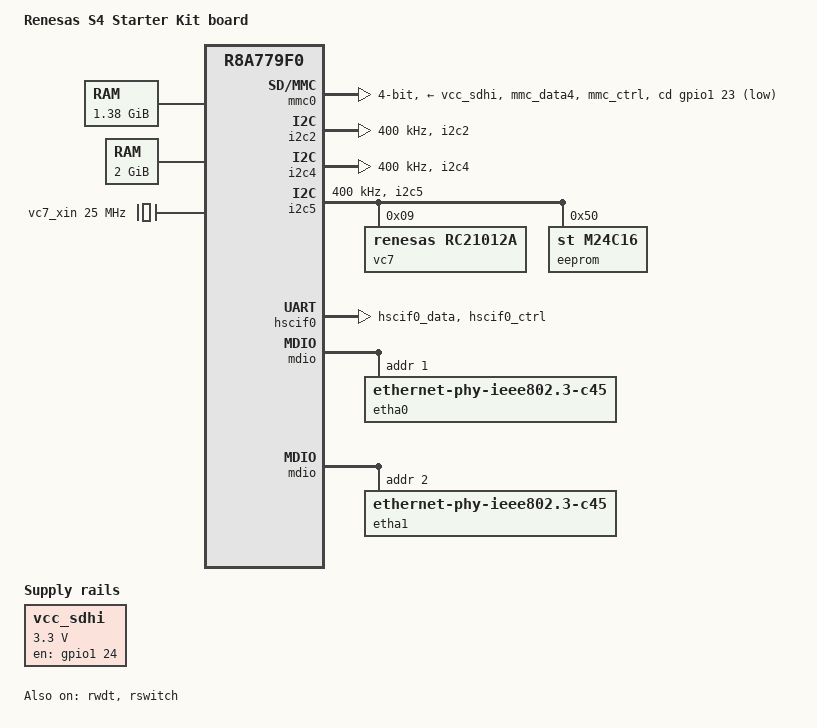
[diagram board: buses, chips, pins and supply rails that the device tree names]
// SPDX-License-Identifier: (GPL-2.0 or MIT)
/*
 * Device Tree Source for the S4 Starter Kit board
 *
 * Copyright (C) 2023 Renesas Electronics Corp.
 */

/dts-v1/;
#include <dt-bindings/gpio/gpio.h>
#include "r8a779f0.dtsi"

/ {
	model = "Renesas S4 Starter Kit board";
	compatible = "renesas,s4sk", "renesas,r8a779f0";

	aliases {
		serial0 = &hscif0;
	};

	chosen {
		stdout-path = "serial0:921600n8";
	};

	memory@48000000 {
		device_type = "memory";
		/* first 128MB is reserved for secure area. */
		/* The last 512MB is reserved for CR. */
		reg = <0x0 0x48000000 0x0 0x58000000>;
	};

	memory@480000000 {
		device_type = "memory";
		reg = <0x4 0x80000000 0x0 0x80000000>;
	};

	vc7_xin: vc7_xin {
		compatible = "fixed-clock";
		clock-frequency = <25000000>;
		#clock-cells = <0>;
	};

	vcc_sdhi: regulator-vcc-sdhi {
		compatible = "regulator-fixed";
		regulator-name = "SDHI Vcc";
		regulator-min-microvolt = <3300000>;
		regulator-max-microvolt = <3300000>;
		gpio = <&gpio1 24 GPIO_ACTIVE_HIGH>;
		enable-active-high;
	};
};

&extal_clk {
	clock-frequency = <20000000>;
};

&extalr_clk {
	clock-frequency = <32768>;
};

&mmc0 {
	pinctrl-0 = <&sd_pins>;
	pinctrl-1 = <&sd_pins>;
	pinctrl-names = "default", "state_uhs";

	vmmc-supply = <&vcc_sdhi>;
	vqmmc-supply = <&vcc_sdhi>;
	cd-gpios = <&gpio1 23 GPIO_ACTIVE_LOW>;
	bus-width = <4>;
	status = "okay";
};

&i2c2 {
	pinctrl-0 = <&i2c2_pins>;
	pinctrl-names = "default";

	status = "okay";
	clock-frequency = <400000>;
};

&i2c4 {
	pinctrl-0 = <&i2c4_pins>;
	pinctrl-names = "default";

	status = "okay";
	clock-frequency = <400000>;
};

&i2c5 {
	pinctrl-0 = <&i2c5_pins>;
	pinctrl-names = "default";

	status = "okay";
	clock-frequency = <400000>;

	vc7@9 {
		compatible = "renesas,rc21012a";
		reg = <0x9>;
		#clock-cells = <1>;
		clocks = <&vc7_xin>;
		clock-names = "xin";
	};

	eeprom@50 {
		compatible = "st,m24c16", "atmel,24c16";
		reg = <0x50>;
		pagesize = <16>;
	};
};

&pfc {
	pinctrl-0 = <&scif_clk_pins>;
	pinctrl-names = "default";

	i2c2_pins: i2c2 {
		groups = "i2c2";
		function = "i2c2";
	};

	i2c4_pins: i2c4 {
		groups = "i2c4";
		function = "i2c4";
	};

	i2c5_pins: i2c5 {
		groups = "i2c5";
		function = "i2c5";
	};

	sd_pins: sd {
		groups = "mmc_data4", "mmc_ctrl";
		function = "mmc";
		power-source = <3300>;
	};

	scif3_pins: scif3 {
		groups = "scif3_data", "scif3_ctrl";
		function = "scif3";
	};

	hscif0_pins: hscif0 {
		groups = "hscif0_data", "hscif0_ctrl";
		function = "hscif0";
	};

	scif_clk_pins: scif_clk {
		groups = "scif_clk";
		function = "scif_clk";
	};

	tsn0_pins: tsn0 {
		mux {
			groups = "tsn0_link", "tsn0_mdio";
			function = "tsn0";
			drive-strength = <18>;
			power-source = <3300>;
		};

		pins_mdio {
			groups = "tsn0_mdio";
			drive-strength = <18>;
			power-source = <3300>;
		};
	};

	tsn1_pins: tsn1 {
		mux {
			groups = "tsn1_link", "tsn1_mdio";
			function = "tsn1";
			drive-strength = <18>;
			power-source = <3300>;
		};

		pins_mdio {
			groups = "tsn1_mdio";
			drive-strength = <18>;
			power-source = <3300>;
		};
	};
};

&rwdt {
	timeout-sec = <60>;
	status = "okay";
};

&scif3 {
	pinctrl-0 = <&scif3_pins>;
	pinctrl-names = "default";

	uart-has-rtscts;
	/* Please use exclusively to the hscif0 node */
	status = "disabed";
};

&hscif0 {
	pinctrl-0 = <&hscif0_pins>;
	pinctrl-names = "default";

	uart-has-rtscts;
	/* Please use exclusively to the scif3 node */
	status = "okay";
};

&scif_clk {
	clock-frequency = <24000000>;
};

&rswitch {
	pinctrl-0 = <&tsn0_pins>, <&tsn1_pins>;
	pinctrl-names = "default";
	phy-mode = "sgmii";
	status = "okay";

	ethernet-ports {
		#address-cells = <1>;
		#size-cells = <0>;

		port@0 {
			reg = <0>;
			phy-handle = <&etha0>;

			mdio {
				#address-cells = <1>;
				#size-cells = <0>;

				etha0: ethernet-phy@1 {
					reg = <1>;
					compatible = "ethernet-phy-ieee802.3-c45";
				};
			};
		};
		port@1 {
			reg = <1>;
			phy-handle = <&etha1>;

			mdio {
				#address-cells = <1>;
				#size-cells = <0>;

				etha1: ethernet-phy@2 {
					reg = <2>;
					compatible = "ethernet-phy-ieee802.3-c45";
				};
			};
		};
	};
};
